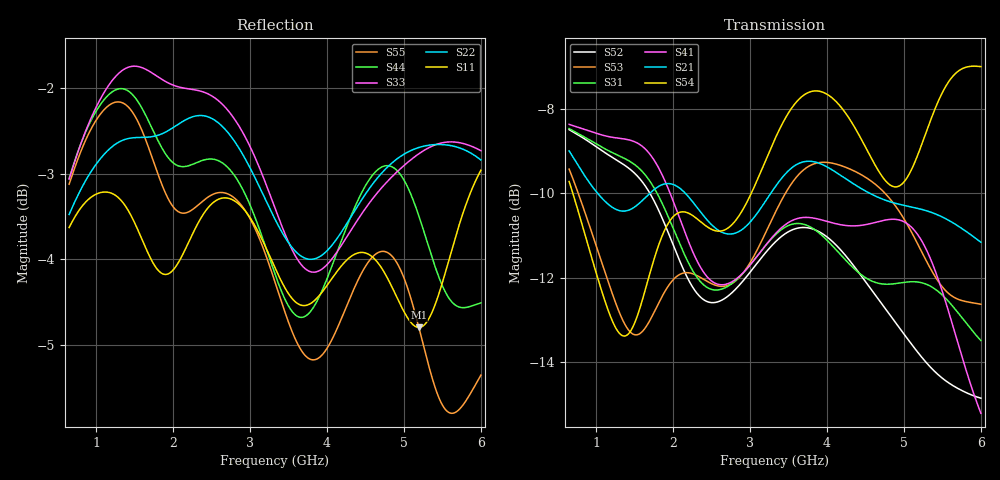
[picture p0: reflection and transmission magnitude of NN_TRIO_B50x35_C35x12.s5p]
! IGNION VIRTUAL ANTENNA LIBRARY
! NN_TRIO_B50x35_C35x12
! Virtual Antenna™ TRIO mXTEND™: NN03-310 30.0mm x 3.0mm x 1.0mm
! https://ignion.io/product/trio-mxtend/
! Board: 50mm x 35mm
! Clearance Area: 35mm x 12mm
! Feeding line: straight line; 9mm x 1mm
! Applications: Smartphone, Fleet management, IoT
! Frequency range 0.65GHz to 6GHz, step ~5MHz
! Number of ports 5
! This product and its use are protected by at least one or more of the following patents and
! patent applications PAT. US 2020/0176855 A1; WO 2019/008171 A1; and other domestic and international
! patents pending. Additional information about patents related to this product is available at
! https://ignion.io/files/Patent-list-NN.pdf, all rights reserved. Copyright, Ignion 2021.
! Need more help? Your platform is much different than these examples in the manual? Use our
! Fast Track service (https://ignion.io/fast-track/), for free, and get a personalized antenna design in
! just 24 hours.
! Touchstone port 1 = CST MWS port 1 ("Series Feeding Port 1")
! Touchstone port 2 = CST MWS port 2 ("Series in-Trio Port 1")
! Touchstone port 3 = CST MWS port 3 ("Series in-Trio Port 2")
! Touchstone port 4 = CST MWS port 4 ("Series Port in Feeding line of Port 2")
! Touchstone port 5 = CST MWS port 5 ("Series Feeding Port 2")
! CST MICROWAVE STUDIO 2019
# GHz S MA R 50
! Nport = 5
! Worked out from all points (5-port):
!   1001 points, 650 MHz to 6 GHz, reference 50 ohm
!   strongest paths, dB at 650 MHz, 1.988 GHz, 3.325 GHz, 4.662 GHz, 6 GHz:
!     S54: -9.7, -10.6, -8.7, -9.4, -7.0
!     S21: -9.0, -9.8, -9.8, -10.1, -11.2
!     S41: -8.4, -10.1, -11.0, -10.7, -15.2
!     S31: -8.5, -10.8, -11.0, -12.1, -13.5
!     S53: -9.4, -12.1, -10.5, -9.8, -12.6
!     S52: -8.5, -11.2, -11.2, -12.5, -14.9
!   lowest |S11| = -4.8 dB at 5.192 GHz (marker M1), VSWR 3.71, Z = 145 - j72.7 ohm
!   |S11| at or under -10 dB: nowhere
